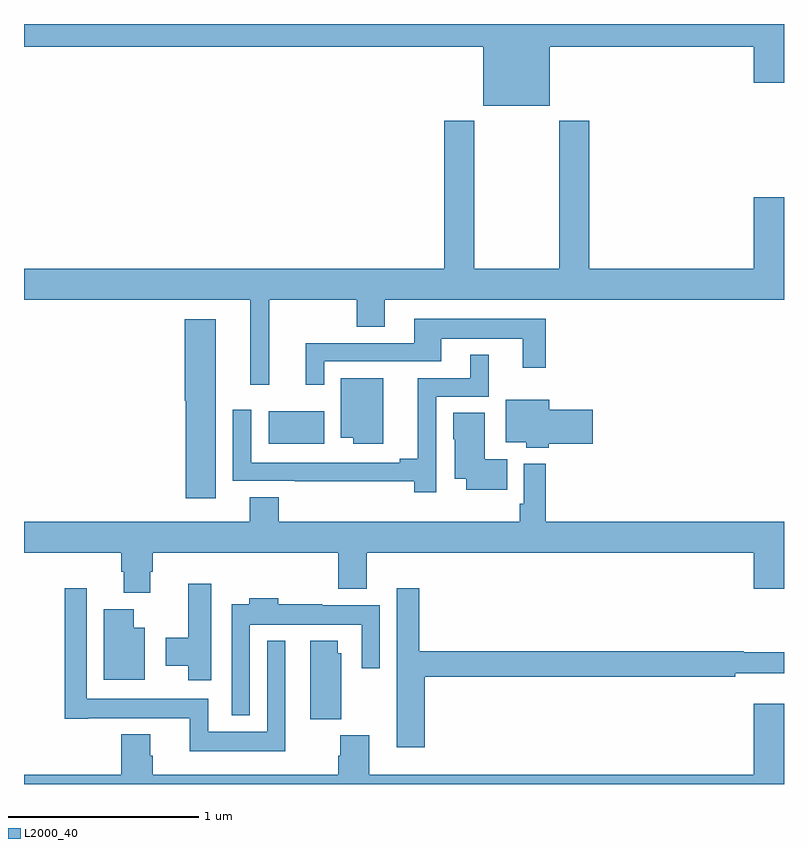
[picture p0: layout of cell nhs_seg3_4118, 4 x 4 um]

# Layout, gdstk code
import gdstk
lib = gdstk.Library(unit=1e-6, precision=1e-09)
def R(c, l, rs):  # rectangles x0, y0, x1, y1
    for r in rs: c.add(gdstk.rectangle(r[:2], r[2:], *l))
def P(c, l, *ps):  # polygons
    for p in ps: c.add(gdstk.Polygon(p, *l))
L2000_40 = (2000, 40)

nhs_seg3_4118 = lib.new_cell('nhs_seg3_4118')
R(nhs_seg3_4118, L2000_40, [(330.287,668.192,330.58,668.362)])
P(nhs_seg3_4118, L2000_40, [(331.768,670.28),(332.84,670.28),(332.84,670.092),(333,670.092),(333,670.4),(329,670.4),(329,670.28),(331.418,670.28),(331.418,669.971),(331.768,669.971)],
  [(330.29,668.948),(330.751,668.948),(330.751,668.806),(330.898,668.806),(330.898,668.948),(333,668.948),(333,669.487),(332.84,669.487),(332.84,669.112),(331.976,669.112),(331.976,669.892),(331.816,669.892),(331.816,669.112),(331.371,669.112),(331.371,669.892),(331.211,669.892),(331.211,669.112),(329,669.112),(329,668.948),(330.191,668.948),(330.191,668.502),(330.29,668.502)],
  [(330.579,668.625),(331.195,668.625),(331.195,668.744),(331.625,668.744),(331.625,668.592),(331.747,668.592),(331.747,668.848),(331.055,668.848),(331.055,668.721),(330.482,668.721),(330.482,668.502),(330.579,668.502)],
  [(330.01,668.845),(329.846,668.845),(329.846,668.418),(329.852,668.418),(329.852,667.905),(330.01,667.905)],
  [(331.17,668.439),(331.447,668.439),(331.447,668.659),(331.349,668.659),(331.349,668.535),(331.073,668.535),(331.073,668.111),(330.977,668.111),(330.977,668.091),(330.195,668.091),(330.195,668.371),(330.099,668.371),(330.099,667.995),(330.424,667.995),(330.424,667.994),(331.054,667.994),(331.054,667.935),(331.17,667.935)],
  [(330.892,668.536),(330.668,668.536),(330.668,668.222),(330.734,668.222),(330.734,668.192),(330.892,668.192)],
  [(331.761,668.191),(331.993,668.191),(331.993,668.369),(331.765,668.369),(331.765,668.422),(331.535,668.422),(331.535,668.198),(331.644,668.198),(331.644,668.171),(331.761,668.171)],
  [(331.544,668.11),(331.426,668.11),(331.426,668.354),(331.259,668.354),(331.259,668.214),(331.268,668.214),(331.268,668.006),(331.328,668.006),(331.328,667.949),(331.544,667.949)],
  [(329.665,667.518),(329.678,667.518),(329.678,667.616),(330.653,667.616),(330.653,667.427),(330.805,667.427),(330.805,667.616),(332.84,667.616),(332.84,667.428),(333,667.428),(333,667.78),(331.745,667.78),(331.745,668.086),(331.629,668.086),(331.629,667.876),(331.609,667.876),(331.609,667.78),(330.341,667.78),(330.341,667.91),(330.188,667.91),(330.188,667.78),(329,667.78),(329,667.616),(329.513,667.616),(329.513,667.518),(329.525,667.518),(329.525,667.406),(329.665,667.406)],
  [(329.986,667.453),(329.864,667.453),(329.864,667.17),(329.747,667.17),(329.747,667.022),(329.864,667.022),(329.864,666.945),(329.986,666.945)],
  [(330.376,667.153),(330.279,667.153),(330.279,666.676),(329.97,666.676),(329.97,666.85),(329.331,666.85),(329.331,667.429),(329.215,667.429),(329.215,666.744),(329.338,666.744),(329.338,666.746),(329.873,666.746),(329.873,666.572),(330.376,666.572)],
  [(331.109,666.964),(332.744,666.964),(332.744,666.983),(333,666.983),(333,667.093),(332.788,667.093),(332.788,667.1),(331.079,667.1),(331.079,667.429),(330.963,667.429),(330.963,666.977),(330.962,666.977),(330.962,666.594),(331.109,666.594)],
  [(330.189,667.238),(330.777,667.238),(330.777,667.008),(330.873,667.008),(330.873,667.342),(330.569,667.342),(330.569,667.345),(330.338,667.345),(330.338,667.378),(330.185,667.378),(330.185,667.345),(330.093,667.345),(330.093,666.761),(330.189,666.761)],
  [(329.635,667.222),(329.578,667.222),(329.578,667.321),(329.42,667.321),(329.42,666.95),(329.635,666.95)],
  [(330.67,667.089),(330.652,667.089),(330.652,667.153),(330.506,667.153),(330.506,666.742),(330.67,666.742)],
  [(333,666.823),(332.84,666.823),(332.84,666.448),(330.818,666.448),(330.818,666.657),(330.665,666.657),(330.665,666.548),(330.653,666.548),(330.653,666.448),(329.678,666.448),(329.678,666.549),(329.665,666.549),(329.665,666.661),(329.513,666.661),(329.513,666.448),(329,666.448),(329,666.4),(333,666.4)])

lib.write_gds('nhs_seg3_4118.gds')
